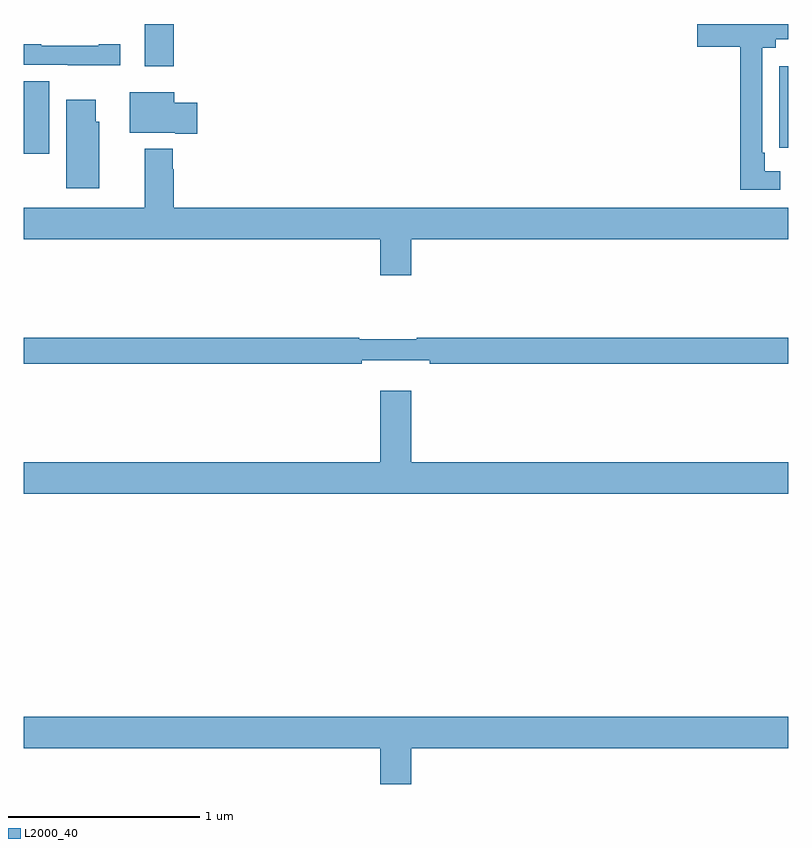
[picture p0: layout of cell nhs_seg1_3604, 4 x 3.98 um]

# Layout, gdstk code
import gdstk
lib = gdstk.Library(unit=1e-6, precision=1e-09)
def R(c, l, rs):  # rectangles x0, y0, x1, y1
    for r in rs: c.add(gdstk.rectangle(r[:2], r[2:], *l))
def P(c, l, *ps):  # polygons
    for p in ps: c.add(gdstk.Polygon(p, *l))
L2000_40 = (2000, 40)

nhs_seg1_3604 = lib.new_cell('nhs_seg1_3604')
R(nhs_seg1_3604, L2000_40, [(307,545.52,307.132,545.9), (310.955,545.55,311,545.977), (307.631,545.979,307.784,546.199)])
P(nhs_seg1_3604, L2000_40, [(310.96,545.427),(310.878,545.427),(310.878,545.524),(310.866,545.524),(310.866,546.074),(310.936,546.074),(310.936,546.12),(311,546.12),(311,546.199),(310.524,546.199),(310.524,546.08),(310.75,546.08),(310.75,545.331),(310.96,545.331)],
  [(307.504,546.094),(307.391,546.094),(307.391,546.084),(307.091,546.084),(307.091,546.094),(307,546.094),(307,545.985),(307.228,545.985),(307.228,545.984),(307.504,545.984)],
  [(307.906,545.788),(307.786,545.788),(307.786,545.842),(307.553,545.842),(307.553,545.63),(307.793,545.63),(307.793,545.625),(307.906,545.625)],
  [(307.393,545.688),(307.375,545.688),(307.375,545.803),(307.22,545.803),(307.22,545.34),(307.393,545.34)],
  [(309.028,545.072),(311,545.072),(311,545.236),(307.784,545.236),(307.784,545.438),(307.78,545.438),(307.78,545.545),(307.631,545.545),(307.631,545.236),(307,545.236),(307,545.072),(308.864,545.072),(308.864,544.884),(309.028,544.884)],
  [(308.768,544.439),(309.124,544.439),(309.124,544.42),(311,544.42),(311,544.556),(309.055,544.556),(309.055,544.549),(308.755,544.549),(308.755,544.556),(307,544.556),(307,544.42),(308.768,544.42)],
  [(311,543.904),(309.028,543.904),(309.028,544.279),(308.864,544.279),(308.864,543.904),(307,543.904),(307,543.74),(311,543.74)],
  [(309.028,542.408),(311,542.408),(311,542.572),(307,542.572),(307,542.408),(308.864,542.408),(308.864,542.22),(309.028,542.22)])

lib.write_gds('nhs_seg1_3604.gds')
